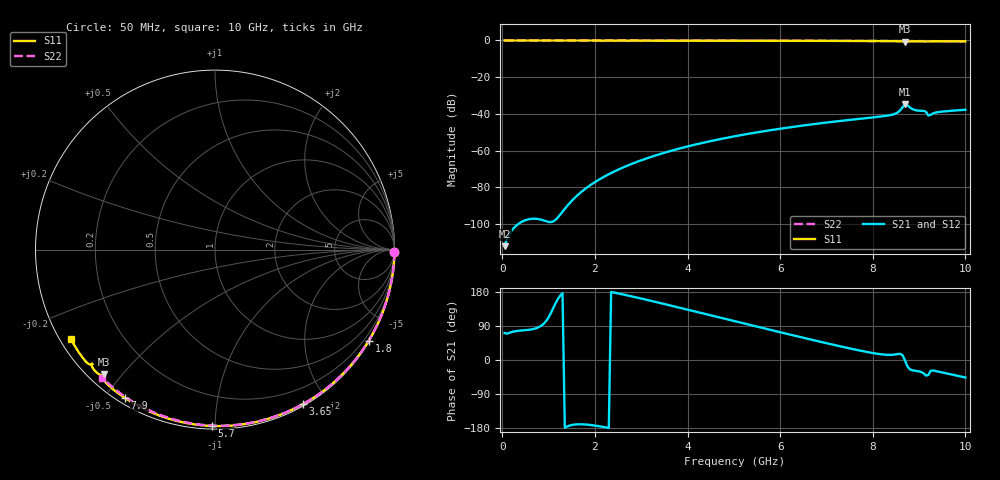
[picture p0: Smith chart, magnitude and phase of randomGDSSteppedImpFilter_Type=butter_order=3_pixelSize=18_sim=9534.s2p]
! freq	dB(S11)	phase(S11)	dB(S12)	phase(S12)
!  dB(S21)	phase(S21)	dB(S22)	phase(S22)
!S-par simulation data
#  GHz  S  DB  R 50
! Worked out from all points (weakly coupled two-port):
!   200 points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, 50 MHz to 10 GHz, reference 50 ohm
!   highest |S21| = -34.86 dB at 8.7 GHz (marker M1); lowest = -112.1 dB at 50 MHz (marker M2)
!   lowest |S11| = -0.6 dB at 8.7 GHz (marker M3), VSWR 27.45, Z = 2.19 - j22.4 ohm
!   |S11| at or under -10 dB: nowhere
!   |S22| runs from -0.4 to 0.0 dB; largest |S21 - S12| = 0
!   S11 on the Smith chart (normalised r, x): 50 MHz: open; 1.8 GHz: 0.03, -3.66; 3.65 GHz: 0.02, -1.72; 5.7 GHz: 0.02, -0.98; 7.9 GHz: 0.02, -0.56; 10 GHz: 0.03, -0.28
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0.05  -0.00 -0.9  -112.07 71.1  -112.07 71.1  -0.00 -0.8
0.9  -0.02 -15.5  -98.12 96.4  -98.12 96.4  -0.02 -13.6
1.75  -0.04 -29.8  -81.63 -169.9  -81.63 -169.9  -0.03 -26.2
1.8  -0.04 -30.6  -80.65 -170.2  -80.65 -170.2  -0.03 -26.9
1.85  -0.04 -31.4  -79.73 -170.8  -79.73 -170.8  -0.04 -27.6
2.15  -0.05 -36.4  -74.92 -175.9  -74.92 -175.9  -0.04 -32.0
2.55  -0.05 -42.9  -69.84 174.5  -69.84 174.5  -0.05 -37.8
3.4  -0.07 -56.5  -61.93 150.7  -61.93 150.7  -0.07 -49.8
3.65  -0.08 -60.4  -60.08 143.3  -60.08 143.3  -0.07 -53.3
4.3  -0.10 -70.4  -55.94 123.9  -55.94 123.9  -0.09 -62.2
5.05  -0.12 -81.5  -52.05 101.5  -52.05 101.5  -0.11 -72.1
5.7  -0.15 -90.9  -49.24 82.1  -49.24 82.1  -0.13 -80.5
6.7  -0.20 -104.9  -45.66 52.9  -45.66 52.9  -0.18 -92.9
7.9  -0.29 -121.1  -42.20 20.6  -42.20 20.6  -0.25 -107.3
8.35  -0.34 -127.3  -40.82 13.5  -40.82 13.5  -0.29 -112.5
8.55  -0.40 -130.3  -39.01 16.0  -39.01 16.0  -0.31 -114.8
8.7  -0.63 -131.7  -34.86 -2.4  -34.86 -2.4  -0.31 -116.4
8.9  -0.44 -133.6  -37.82 -28.1  -37.82 -28.1  -0.32 -118.8
9.15  -0.59 -137.2  -38.91 -41.1  -38.91 -41.1  -0.35 -121.7
9.2  -0.60 -136.9  -40.85 -39.6  -40.85 -39.6  -0.36 -122.2
9.4  -0.42 -139.9  -39.08 -30.2  -39.08 -30.2  -0.37 -124.5
10  -0.49 -148.2  -37.75 -46.2  -37.75 -46.2  -0.44 -131.3
